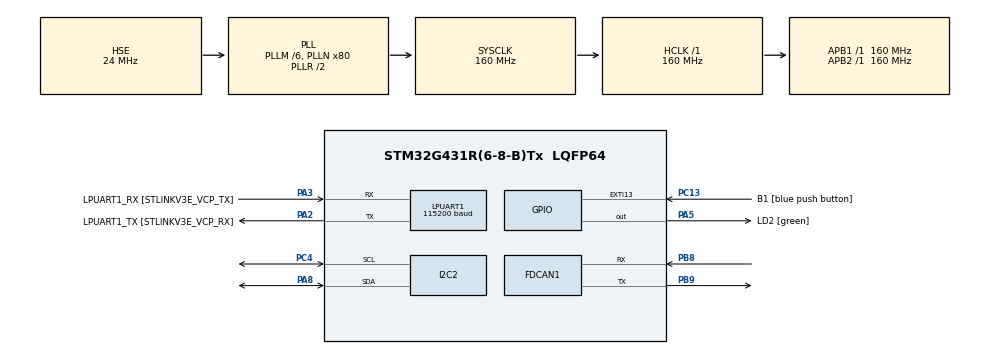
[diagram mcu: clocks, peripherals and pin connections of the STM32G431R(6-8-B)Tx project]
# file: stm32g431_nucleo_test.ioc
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FDCAN1.AutoRetransmission=ENABLE
FDCAN1.DataSyncJumpWidth=4
FDCAN1.DataTimeSeg1=5
FDCAN1.DataTimeSeg2=4
FDCAN1.NominalSyncJumpWidth=16
FDCAN1.NominalTimeSeg1=119
FDCAN1.NominalTimeSeg2=20
FDCAN1.StdFiltersNbr=1
FDCAN1.TransmitPause=ENABLE
I2C2.Timing=0x30909DEC
LPUART1.BaudRate=115200
LPUART1.WordLength=UART_WORDLENGTH_8B
Mcu.Family=STM32G4
Mcu.Name=STM32G431R(6-8-B)Tx
Mcu.Package=LQFP64
NVIC.FDCAN1_IT0_IRQn=true\:0\:0\:false\:false\:true\:true\:true
NVIC.FDCAN1_IT1_IRQn=true\:0\:0\:false\:false\:true\:true\:true
NVIC.PriorityGroup=NVIC_PRIORITYGROUP_4
PA13.GPIO_Label=T_SWDIO
PA13.Mode=Serial_Wire
PA13.Signal=SYS_JTMS-SWDIO
PA14.GPIO_Label=T_SWCLK
PA14.Mode=Serial_Wire
PA14.Signal=SYS_JTCK-SWCLK
PA2.GPIO_Label=LPUART1_TX [STLINKV3E_VCP_RX]
PA2.Mode=Asynchronous
PA2.Signal=LPUART1_TX
PA3.GPIO_Label=LPUART1_RX [STLINKV3E_VCP_TX]
PA3.Mode=Asynchronous
PA3.Signal=LPUART1_RX
PA5.GPIO_Label=LD2 [green]
PA5.Signal=GPIO_Output
PA8.Mode=I2C
PA8.Signal=I2C2_SDA
PB3.GPIO_Label=T_SWO
PB3.Signal=SYS_JTDO-SWO
PB8-BOOT0.Mode=FDCANFD
PB8-BOOT0.Signal=FDCAN1_RX
PB9.Mode=FDCANFD
PB9.Signal=FDCAN1_TX
PC13.GPIO_Label=B1 [blue push button]
PC13.Signal=GPXTI13
PC14-OSC32_IN.Mode=LSE-External-Oscillator
PC14-OSC32_IN.Signal=RCC_OSC32_IN
PC15-OSC32_OUT.Mode=LSE-External-Oscillator
PC15-OSC32_OUT.Signal=RCC_OSC32_OUT
PC4.Mode=I2C
PC4.Signal=I2C2_SCL
PF0-OSC_IN.Mode=HSE-External-Oscillator
PF0-OSC_IN.Signal=RCC_OSC_IN
PF1-OSC_OUT.Mode=HSE-External-Oscillator
PF1-OSC_OUT.Signal=RCC_OSC_OUT
ProjectManager.HeapSize=0x200
ProjectManager.StackSize=0x400
ProjectManager.TargetToolchain=STM32CubeIDE
RCC.ADC12Freq_Value=160000000
RCC.AHBFreq_Value=160000000
RCC.APB1Freq_Value=160000000
RCC.APB1TimFreq_Value=160000000
RCC.APB2Freq_Value=160000000
RCC.APB2TimFreq_Value=160000000
RCC.CortexFreq_Value=160000000
RCC.EXTERNAL_CLOCK_VALUE=12288000
RCC.FDCANCLockSelection=RCC_FDCANCLKSOURCE_PLL
RCC.HCLKFreq_Value=160000000
RCC.HSE_VALUE=24000000
RCC.HSI48_VALUE=48000000
RCC.HSI_VALUE=16000000
RCC.PLLM=RCC_PLLM_DIV6
RCC.PLLN=80
RCC.PLLQ=RCC_PLLQ_DIV4
RCC.PLLSourceVirtual=RCC_PLLSOURCE_HSE
RCC.RTCClockSelection=RCC_RTCCLKSOURCE_LSE
RCC.SYSCLKFreq_VALUE=160000000
RCC.SYSCLKSource=RCC_SYSCLKSOURCE_PLLCLK
RCC.USBFreq_Value=80000000
RCC.VCOOutputFreq_Value=320000000
VP_SYS_VS_DBSignals.Mode=DisableDeadBatterySignals
board=NUCLEO-G431RB

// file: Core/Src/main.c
/* USER CODE BEGIN Header */
/**
 * CAN FD demo for STM32G431 Nucleo board
 *
 * skpang.co.uk  12/20
 *
 * Nominal rate 500kbps
 * Data rate    2000kbps
 *
  ******************************************************************************
  * @file           : main.c
  * @brief          : Main program body
  ******************************************************************************
  * @attention
  *
  * <h2><center>&copy; Copyright (c) 2020 STMicroelectronics.
  * All rights reserved.</center></h2>
  *
  * This software component is licensed by ST under BSD 3-Clause license,
  * the "License"; You may not use this file except in compliance with the
  * License. You may obtain a copy of the License at:
  *                        opensource.org/licenses/BSD-3-Clause
  *
  ******************************************************************************
  */
/* USER CODE END Header */
#include "main.h"

/* USER CODE BEGIN Includes */
#include "skp_can.h"
/* USER CODE END Includes */

FDCAN_HandleTypeDef hfdcan1;

I2C_HandleTypeDef hi2c2;

UART_HandleTypeDef hlpuart1;

/* USER CODE BEGIN PV */
uint32_t systick;

FDCAN_RxHeaderTypeDef RxHeader;
uint8_t RxData[64];
FDCAN_TxHeaderTypeDef TxHeader;
uint8_t TxData[64];
/* USER CODE END PV */

void SystemClock_Config(void);
static void MX_GPIO_Init(void);
static void MX_LPUART1_UART_Init(void);
static void MX_FDCAN1_Init(void);
static void MX_I2C2_Init(void);
/* USER CODE BEGIN PFP */
#ifdef __GNUC__
/* With GCC, small printf (option LD Linker->Libraries->Small printf
   set to 'Yes') calls __io_putchar() */
#define PUTCHAR_PROTOTYPE int __io_putchar(int ch)
#else
#define PUTCHAR_PROTOTYPE int fputc(int ch, FILE *f)
#endif /* __GNUC__ */
/* USER CODE END PFP */

int main(void)
{
  /* USER CODE BEGIN 1 */

  uint32_t tick = 0;
  uint16_t i=0;

  /* USER CODE END 1 */

  /* MCU Configuration--------------------------------------------------------*/

  /* Reset of all peripherals, Initializes the Flash interface and the Systick. */
  HAL_Init();

  /* Configure the system clock */
  SystemClock_Config();

  /* Initialize all configured peripherals */
  MX_GPIO_Init();
  MX_LPUART1_UART_Init();
  MX_FDCAN1_Init();
  MX_I2C2_Init();
  /* USER CODE BEGIN 2 */
  printf("\n\n#########################################\n");
  printf("STM32G431 CAN FD Test skpang.co.uk 12/20\n\n");

  skp_can_init();
  FDCAN_Config();

  TxHeader.Identifier = 0x124;
  TxHeader.IdType = FDCAN_STANDARD_ID;
  TxHeader.TxFrameType = FDCAN_DATA_FRAME;
  TxHeader.DataLength = FDCAN_DLC_BYTES_64;
  TxHeader.ErrorStateIndicator = FDCAN_ESI_ACTIVE;
  TxHeader.BitRateSwitch = FDCAN_BRS_ON;
  TxHeader.FDFormat = FDCAN_FD_CAN;
  TxHeader.TxEventFifoControl = FDCAN_NO_TX_EVENTS;
  TxHeader.MessageMarker = 0;
  TxData[0] = i;
  TxData[1] = i>>8;
  TxData[2] = 0x12;
  TxData[3] = 0x35;

  /* USER CODE END 2 */

  /* Infinite loop */
  while (1)
  {

    /* USER CODE BEGIN 3 */

	  if(systick - tick > 100)
      {
    	  HAL_GPIO_TogglePin(LD2_GPIO_Port, LD2_Pin);
    	  tick = systick;
          if (HAL_FDCAN_AddMessageToTxFifoQ(&hfdcan1, &TxHeader, TxData) != HAL_OK)
    	         {
    	        	  printf("Tx error\n");
    		           Error_Handler();
   		         }
     	   TxData[1] = i>>8;
    	   TxData[0] = i++;

      }
  }
  /* USER CODE END 3 */
}

void SystemClock_Config(void)
{
  RCC_OscInitTypeDef RCC_OscInitStruct = {0};
  RCC_ClkInitTypeDef RCC_ClkInitStruct = {0};
  RCC_PeriphCLKInitTypeDef PeriphClkInit = {0};

  /** Configure the main internal regulator output voltage
  */
  HAL_PWREx_ControlVoltageScaling(PWR_REGULATOR_VOLTAGE_SCALE1_BOOST);
  /** Initializes the RCC Oscillators according to the specified parameters
  * in the RCC_OscInitTypeDef structure.
  */
  RCC_OscInitStruct.OscillatorType = RCC_OSCILLATORTYPE_HSE;
  RCC_OscInitStruct.HSEState = RCC_HSE_ON;
  RCC_OscInitStruct.PLL.PLLState = RCC_PLL_ON;
  RCC_OscInitStruct.PLL.PLLSource = RCC_PLLSOURCE_HSE;
  RCC_OscInitStruct.PLL.PLLM = RCC_PLLM_DIV6;
  RCC_OscInitStruct.PLL.PLLN = 80;
  RCC_OscInitStruct.PLL.PLLP = RCC_PLLP_DIV2;
  RCC_OscInitStruct.PLL.PLLQ = RCC_PLLQ_DIV4;
  RCC_OscInitStruct.PLL.PLLR = RCC_PLLR_DIV2;
  if (HAL_RCC_OscConfig(&RCC_OscInitStruct) != HAL_OK)
  {
    Error_Handler();
  }
  /** Initializes the CPU, AHB and APB buses clocks
  */
  RCC_ClkInitStruct.ClockType = RCC_CLOCKTYPE_HCLK|RCC_CLOCKTYPE_SYSCLK
                              |RCC_CLOCKTYPE_PCLK1|RCC_CLOCKTYPE_PCLK2;
  RCC_ClkInitStruct.SYSCLKSource = RCC_SYSCLKSOURCE_PLLCLK;
  RCC_ClkInitStruct.AHBCLKDivider = RCC_SYSCLK_DIV1;
  RCC_ClkInitStruct.APB1CLKDivider = RCC_HCLK_DIV1;
  RCC_ClkInitStruct.APB2CLKDivider = RCC_HCLK_DIV1;

  if (HAL_RCC_ClockConfig(&RCC_ClkInitStruct, FLASH_LATENCY_4) != HAL_OK)
  {
    Error_Handler();
  }
  /** Initializes the peripherals clocks
  */
  PeriphClkInit.PeriphClockSelection = RCC_PERIPHCLK_LPUART1|RCC_PERIPHCLK_I2C2
                              |RCC_PERIPHCLK_FDCAN;
  PeriphClkInit.Lpuart1ClockSelection = RCC_LPUART1CLKSOURCE_PCLK1;
  PeriphClkInit.I2c2ClockSelection = RCC_I2C2CLKSOURCE_PCLK1;
  PeriphClkInit.FdcanClockSelection = RCC_FDCANCLKSOURCE_PLL;
  if (HAL_RCCEx_PeriphCLKConfig(&PeriphClkInit) != HAL_OK)
  {
    Error_Handler();
  }
}

static void MX_FDCAN1_Init(void)
{

  hfdcan1.Instance = FDCAN1;
  hfdcan1.Init.ClockDivider = FDCAN_CLOCK_DIV1;
  hfdcan1.Init.FrameFormat = FDCAN_FRAME_FD_NO_BRS;
  hfdcan1.Init.Mode = FDCAN_MODE_NORMAL;
  hfdcan1.Init.AutoRetransmission = ENABLE;
  hfdcan1.Init.TransmitPause = ENABLE;
  hfdcan1.Init.ProtocolException = DISABLE;
  hfdcan1.Init.NominalPrescaler = 1;
  hfdcan1.Init.NominalSyncJumpWidth = 16;
  hfdcan1.Init.NominalTimeSeg1 = 119;
  hfdcan1.Init.NominalTimeSeg2 = 20;
  hfdcan1.Init.DataPrescaler = 1;
  hfdcan1.Init.DataSyncJumpWidth = 4;
  hfdcan1.Init.DataTimeSeg1 = 5;
  hfdcan1.Init.DataTimeSeg2 = 4;
  hfdcan1.Init.StdFiltersNbr = 1;
  hfdcan1.Init.ExtFiltersNbr = 0;
  hfdcan1.Init.TxFifoQueueMode = FDCAN_TX_FIFO_OPERATION;
  if (HAL_FDCAN_Init(&hfdcan1) != HAL_OK)
  {
    Error_Handler();
  }

}

static void MX_I2C2_Init(void)
{

  hi2c2.Instance = I2C2;
  hi2c2.Init.Timing = 0x30909DEC;
  hi2c2.Init.OwnAddress1 = 0;
  hi2c2.Init.AddressingMode = I2C_ADDRESSINGMODE_7BIT;
  hi2c2.Init.DualAddressMode = I2C_DUALADDRESS_DISABLE;
  hi2c2.Init.OwnAddress2 = 0;
  hi2c2.Init.OwnAddress2Masks = I2C_OA2_NOMASK;
  hi2c2.Init.GeneralCallMode = I2C_GENERALCALL_DISABLE;
  hi2c2.Init.NoStretchMode = I2C_NOSTRETCH_DISABLE;
  if (HAL_I2C_Init(&hi2c2) != HAL_OK)
  {
    Error_Handler();
  }
  /** Configure Analogue filter
  */
  if (HAL_I2CEx_ConfigAnalogFilter(&hi2c2, I2C_ANALOGFILTER_ENABLE) != HAL_OK)
  {
    Error_Handler();
  }
  /** Configure Digital filter
  */
  if (HAL_I2CEx_ConfigDigitalFilter(&hi2c2, 0) != HAL_OK)
  {
    Error_Handler();
  }

}

static void MX_LPUART1_UART_Init(void)
{

  hlpuart1.Instance = LPUART1;
  hlpuart1.Init.BaudRate = 115200;
  hlpuart1.Init.WordLength = UART_WORDLENGTH_8B;
  hlpuart1.Init.StopBits = UART_STOPBITS_1;
  hlpuart1.Init.Parity = UART_PARITY_NONE;
  hlpuart1.Init.Mode = UART_MODE_TX_RX;
  hlpuart1.Init.HwFlowCtl = UART_HWCONTROL_NONE;
  hlpuart1.Init.OneBitSampling = UART_ONE_BIT_SAMPLE_DISABLE;
  hlpuart1.AdvancedInit.AdvFeatureInit = UART_ADVFEATURE_NO_INIT;
  if (HAL_UART_Init(&hlpuart1) != HAL_OK)
  {
    Error_Handler();
  }
  if (HAL_UARTEx_SetTxFifoThreshold(&hlpuart1, UART_TXFIFO_THRESHOLD_1_8) != HAL_OK)
  {
    Error_Handler();
  }
  if (HAL_UARTEx_SetRxFifoThreshold(&hlpuart1, UART_RXFIFO_THRESHOLD_1_8) != HAL_OK)
  {
    Error_Handler();
  }
  if (HAL_UARTEx_DisableFifoMode(&hlpuart1) != HAL_OK)
  {
    Error_Handler();
  }

}

static void MX_GPIO_Init(void)
{
  GPIO_InitTypeDef GPIO_InitStruct = {0};

  /* GPIO Ports Clock Enable */
  __HAL_RCC_GPIOC_CLK_ENABLE();
  __HAL_RCC_GPIOF_CLK_ENABLE();
  __HAL_RCC_GPIOA_CLK_ENABLE();
  __HAL_RCC_GPIOB_CLK_ENABLE();

  /*Configure GPIO pin Output Level */
  HAL_GPIO_WritePin(LD2_GPIO_Port, LD2_Pin, GPIO_PIN_RESET);

  /*Configure GPIO pin : B1_Pin */
  GPIO_InitStruct.Pin = B1_Pin;
  GPIO_InitStruct.Mode = GPIO_MODE_IT_RISING;
  GPIO_InitStruct.Pull = GPIO_NOPULL;
  HAL_GPIO_Init(B1_GPIO_Port, &GPIO_InitStruct);

  /*Configure GPIO pin : LD2_Pin */
  GPIO_InitStruct.Pin = LD2_Pin;
  GPIO_InitStruct.Mode = GPIO_MODE_OUTPUT_PP;
  GPIO_InitStruct.Pull = GPIO_NOPULL;
  GPIO_InitStruct.Speed = GPIO_SPEED_FREQ_LOW;
  HAL_GPIO_Init(LD2_GPIO_Port, &GPIO_InitStruct);

}

/* USER CODE BEGIN 4 */
PUTCHAR_PROTOTYPE
{
  /* Place your implementation of fputc here */
  /* e.g. write a character to the LPUART1 and Loop until the end of transmission */
  HAL_UART_Transmit(&hlpuart1, (uint8_t *)&ch, 1, 0xFFFF);

  return ch;
}

/* USER CODE END 4 */

void Error_Handler(void)
{
}

/************************ (C) COPYRIGHT STMicroelectronics *****END OF FILE****/
